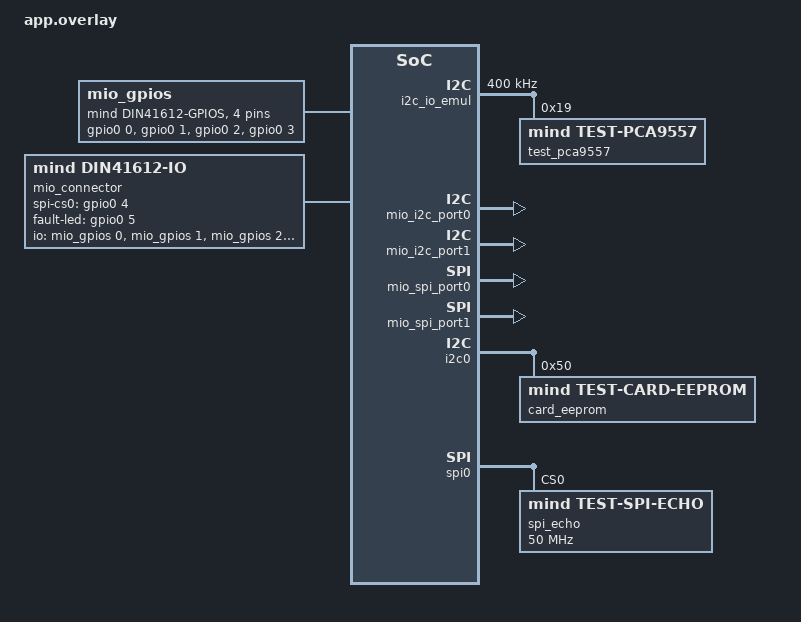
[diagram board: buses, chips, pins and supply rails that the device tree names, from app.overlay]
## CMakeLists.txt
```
# SPDX-License-Identifier: Apache-2.0

cmake_minimum_required(VERSION 3.20.0)

set(ZEPHYR_EXTRA_MODULES ${CMAKE_CURRENT_SOURCE_DIR}/../..)
find_package(Zephyr REQUIRED HINTS $ENV{ZEPHYR_BASE})
project(mind_io_test)

set(common ${CMAKE_CURRENT_SOURCE_DIR}/../common)
target_sources(app PRIVATE
  src/main.c
  ${common}/emul_card_eeprom.c
  ${common}/emul_pca9557.c
  ${common}/emul_spi_echo.c
)
target_include_directories(app PRIVATE ${common})

set(gen_dir ${ZEPHYR_BINARY_DIR}/include/generated)
generate_inc_file_for_target(app ${CMAKE_CURRENT_SOURCE_DIR}/../golden/dev_card.bin
			     ${gen_dir}/dev_card.bin.inc)
```

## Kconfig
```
# SPDX-License-Identifier: Apache-2.0

config TEST_CARD_IMAGE_GOLDEN
	bool "Preload the emulated card EEPROM with the golden card image"
	default y
	help
	  If disabled, the emulated card EEPROM reads as erased.

config TEST_CARD_ABSENT
	bool "Test build without any card EEPROM on I2C_CNF"

source "Kconfig.zephyr"
```

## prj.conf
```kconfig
CONFIG_ZTEST=y
CONFIG_EMUL=y
CONFIG_I2C=y
CONFIG_SPI=y
CONFIG_GPIO=y
CONFIG_LOG=y
CONFIG_MIND_IO_LOG_LEVEL_DBG=y

CONFIG_SHELL=y
CONFIG_SHELL_BACKEND_SERIAL=n
CONFIG_SHELL_VT100_COMMANDS=n
CONFIG_SHELL_BACKEND_DUMMY=y
CONFIG_SHELL_BACKEND_DUMMY_BUF_SIZE=2048
```

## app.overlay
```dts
/*
 * A mind,din41612-io connector on native_sim's emulated buses:
 * I2C_CNF = i2c0 (with the emulated card EEPROM), I2C_IO = a second
 * emulated I2C bus (with the on-card PCA9557), SPI = spi0 (with an echo
 * device), GPIOs on gpio0.
 *
 * SPDX-License-Identifier: Apache-2.0
 */

#include <zephyr/dt-bindings/gpio/gpio.h>
#include <zephyr/dt-bindings/i2c/i2c.h>

/ {
	i2c_io_emul: i2c@1100 {
		compatible = "zephyr,i2c-emul-controller";
		reg = <0x1100 4>;
		clock-frequency = <I2C_BITRATE_FAST>;
		#address-cells = <1>;
		#size-cells = <0>;
		status = "okay";

		test_pca9557: pca9557@19 {
			compatible = "mind,test-pca9557";
			reg = <0x19>;
		};
	};

	mio_gpios: connector-gpios {
		compatible = "mind,din41612-gpios";
		#gpio-cells = <2>;
		gpio-map-mask = <0xffffffff 0xffffffc0>;
		gpio-map-pass-thru = <0 0x3f>;
		gpio-map = <0 0 &gpio0 0 0>, <1 0 &gpio0 1 0>, <2 0 &gpio0 2 0>, <3 0 &gpio0 3 0>;
	};

	mio_connector: connector {
		compatible = "mind,din41612-io";
		i2c-cnf = <&i2c0>;
		i2c-io = <&i2c_io_emul>;
		spi = <&spi0>;
		spi-cs0-gpios = <&gpio0 4 GPIO_ACTIVE_HIGH>;
		fault-led-gpios = <&gpio0 5 GPIO_ACTIVE_HIGH>;
		io-gpios = <&mio_gpios 0 0>, <&mio_gpios 1 0>, <&mio_gpios 2 0>, <&mio_gpios 3 0>;

		mio_i2c_port0: i2c-port-0 {
			compatible = "mind,io-i2c-port";
			slot = <0>;
			#address-cells = <1>;
			#size-cells = <0>;
		};

		mio_i2c_port1: i2c-port-1 {
			compatible = "mind,io-i2c-port";
			slot = <1>;
			#address-cells = <1>;
			#size-cells = <0>;
		};

		mio_spi_port0: spi-port-0 {
			compatible = "mind,io-spi-port";
			slot = <0>;
			#address-cells = <1>;
			#size-cells = <0>;
		};

		mio_spi_port1: spi-port-1 {
			compatible = "mind,io-spi-port";
			slot = <1>;
			#address-cells = <1>;
			#size-cells = <0>;
		};
	};
};

&i2c0 {
	card_eeprom: eeprom@50 {
		compatible = "mind,test-card-eeprom";
		reg = <0x50>;
	};
};

&spi0 {
	spi_echo: echo@0 {
		compatible = "mind,test-spi-echo";
		reg = <0>;
		spi-max-frequency = <50000000>;
	};
};
```

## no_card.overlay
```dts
/* SPDX-License-Identifier: Apache-2.0 */

#include "app.overlay"

/delete-node/ &card_eeprom;
```

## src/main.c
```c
/*
 * mind_io integration tests on native_sim: card read at boot, lines on
 * connector GPIOs and on the on-card PCA9557, fault LED, raw card EEPROM
 * access, I2C/SPI port slots and the shell commands.
 *
 * SPDX-License-Identifier: Apache-2.0
 */

#include <errno.h>
#include <string.h>

#include <zephyr/device.h>
#include <zephyr/drivers/gpio.h>
#include <zephyr/drivers/gpio/gpio_emul.h>
#include <zephyr/drivers/i2c.h>
#include <zephyr/drivers/spi.h>
#include <zephyr/shell/shell.h>
#include <zephyr/shell/shell_dummy.h>
#include <zephyr/ztest.h>

#include <mind_io/mind_io.h>
#include "test_emul.h"

static const struct device *const gpio0 = DEVICE_DT_GET(DT_NODELABEL(gpio0));
static const struct device *const i2c_port0 = DEVICE_DT_GET(DT_NODELABEL(mio_i2c_port0));
static const struct device *const spi_port0 = DEVICE_DT_GET(DT_NODELABEL(mio_spi_port0));

/* gpio0 pins as wired in app.overlay */
#define PIN_GPIO0     0
#define PIN_GPIO3     3
#define PIN_SPI_CS0   4
#define PIN_FAULT_LED 5

static const struct shell *sh;

static const char *run(const char *cmd, int expected_ret)
{
	size_t size;
	int ret;

	shell_backend_dummy_clear_output(sh);
	ret = shell_execute_cmd(sh, cmd);
	zassert_equal(ret, expected_ret, "'%s' returned %d", cmd, ret);

	return shell_backend_dummy_get_output(sh, &size);
}

static void *shell_setup(void)
{
	sh = shell_backend_dummy_get_ptr();
	WAIT_FOR(shell_ready(sh), 20000, k_msleep(1));
	zassert_true(shell_ready(sh), "dummy shell backend not ready");
	return NULL;
}

#ifdef CONFIG_TEST_CARD_IMAGE_GOLDEN

static const struct device *const i2c_port1 = DEVICE_DT_GET(DT_NODELABEL(mio_i2c_port1));
static const struct device *const spi_port1 = DEVICE_DT_GET(DT_NODELABEL(mio_spi_port1));

/* ---- card read at boot ---- */

ZTEST(mio_card, test_status_ok)
{
	const char *reason = "unset";
	const struct mio_card *card;

	zassert_equal(mio_card_status(&reason), MIO_CARD_OK);
	zassert_is_null(reason);

	card = mio_card_get();
	zassert_not_null(card);
	zassert_str_equal(card->identity.name, "MINDOS-IO-DEV");
	zassert_true(mio_has_resource(MIO_RES_SPI));
	zassert_true(mio_has_resource(MIO_RES_GPIO3));
	zassert_false(mio_has_resource(MIO_RES_GPIO0));
	zassert_false(mio_has_resource(MIO_RES_RS485));
	zassert_not_null(mio_card_i2c_port(0));
	zassert_is_null(mio_card_i2c_port(1));
}

ZTEST(mio_card, test_undeclared_gpio_untouched)
{
	gpio_flags_t flags = 0xFFFFFFFFU;

	zassert_ok(gpio_emul_flags_get(gpio0, PIN_GPIO0, &flags));
	zassert_equal(flags & (GPIO_INPUT | GPIO_OUTPUT), 0, "GPIO0 must stay unconfigured");
}

ZTEST(mio_card, test_fault_led)
{
	zassert_equal(gpio_emul_output_get(gpio0, PIN_FAULT_LED), 0, "off with a valid card");
	zassert_ok(mio_fault_led_set(true));
	zassert_equal(gpio_emul_output_get(gpio0, PIN_FAULT_LED), 1);
	zassert_ok(mio_fault_led_set(false));
	zassert_equal(gpio_emul_output_get(gpio0, PIN_FAULT_LED), 0);
}

/* ---- lines ---- */

ZTEST(mio_card, test_gpio_input_line)
{
	struct mio_line irq;
	gpio_flags_t flags;

	zassert_ok(mio_line_get("CAN1_INT", &irq));

	zassert_ok(gpio_emul_flags_get(gpio0, PIN_GPIO3, &flags));
	zassert_true((flags & GPIO_INPUT) != 0U);
	zassert_true((flags & GPIO_PULL_UP) != 0U);

	/* active-low: a low level reads as active */
	zassert_ok(gpio_emul_input_set(gpio0, PIN_GPIO3, 0));
	zassert_equal(mio_line_read(&irq), 1);
	zassert_ok(gpio_emul_input_set(gpio0, PIN_GPIO3, 1));
	zassert_equal(mio_line_read(&irq), 0);

	zassert_equal(mio_line_set(&irq, 1), -ENOTSUP, "inputs can't be set");
}

ZTEST(mio_card, test_expander_lines)
{
	struct mio_line relay;
	struct mio_line led;
	struct test_pca9557_regs regs = test_pca9557_regs();

	/* Polarity cleared, IO1/IO2 outputs; RELAY1 inactive (low), LED1 active
	 * and active-low (low).
	 */
	zassert_equal(regs.pol, 0x00);
	zassert_equal(regs.cfg, 0xF9);
	zassert_equal(regs.out & 0x06, 0x00);

	zassert_ok(mio_line_get("RELAY1", &relay));
	zassert_ok(mio_line_get("LED1", &led));

	zassert_ok(mio_line_set(&relay, 1));
	zassert_ok(mio_line_set(&led, 0));
	regs = test_pca9557_regs();
	zassert_equal(regs.out & 0x06, 0x06);
	zassert_equal(mio_line_read(&relay), 1);
	zassert_equal(mio_line_read(&led), 0);

	zassert_ok(mio_line_set(&relay, 0));
	zassert_equal(test_pca9557_regs().out & 0x02, 0x00);
}

ZTEST(mio_card, test_unknown_line)
{
	struct mio_line line;

	zassert_equal(mio_line_get("NOPE", &line), -ENOENT);
}

/* ---- raw card EEPROM access ---- */

ZTEST(mio_card, test_eeprom_raw_access)
{
	uint8_t data[20];
	uint8_t readback[20];

	zassert_ok(mio_card_eeprom_read(0, readback, 4));
	zassert_mem_equal(readback, MIO_CARD_MAGIC, 4);

	for (size_t i = 0; i < sizeof(data); i++) {
		data[i] = (uint8_t)(0xA0 + i);
	}

	/* crosses a 16-byte chunk boundary */
	zassert_ok(mio_card_eeprom_write(0x100A, data, sizeof(data)));
	zassert_mem_equal(&test_card_eeprom_mem()[0x100A], data, sizeof(data));
	zassert_ok(mio_card_eeprom_read(0x100A, readback, sizeof(readback)));
	zassert_mem_equal(readback, data, sizeof(data));
}

ZTEST_SUITE(mio_card, NULL, NULL, NULL, NULL, NULL);

/* ---- port slots ---- */

ZTEST(mio_ports, test_slot_readiness)
{
	zassert_true(device_is_ready(i2c_port0));
	zassert_false(device_is_ready(i2c_port1), "the card has no I2C slot 1");
	zassert_true(device_is_ready(spi_port0));
	zassert_false(device_is_ready(spi_port1), "the card has no SPI slot 1");
}

ZTEST(mio_ports, test_port_by_label)
{
	zassert_equal(mio_port_by_label("SENSOR1"), i2c_port0);
	zassert_equal(mio_port_by_label("CAN1"), spi_port0);
	zassert_is_null(mio_port_by_label("CAN1_INT"), "lines are not ports");
	zassert_is_null(mio_port_by_label("NOPE"));
}

ZTEST(mio_ports, test_i2c_forwarding)
{
	uint8_t val;

	/* The PCA9557 sits on the host I2C_IO bus; the port reaches it */
	zassert_ok(i2c_reg_read_byte(i2c_port0, 0x19, 0x03, &val));
	zassert_equal(val, test_pca9557_regs().cfg);
	zassert_ok(i2c_reg_read_byte(i2c_port0, 0x19, 0x02, &val));
	zassert_equal(val, 0x00);
}

static int spi_xfer(uint32_t freq, uint16_t extra_op, uint8_t *tx, uint8_t *rx, size_t len)
{
	struct spi_config cfg = {
		.frequency = freq,
		.operation = SPI_WORD_SET(8) | SPI_OP_MODE_CONTROLLER | extra_op,
	};
	struct spi_buf tx_buf = {.buf = tx, .len = len};
	struct spi_buf rx_buf = {.buf = rx, .len = len};
	struct spi_buf_set tx_set = {.buffers = &tx_buf, .count = 1};
	struct spi_buf_set rx_set = {.buffers = &rx_buf, .count = 1};

	return spi_transceive(spi_port0, &cfg, &tx_set, &rx_set);
}

ZTEST(mio_ports, test_spi_chip_select_and_forwarding)
{
	uint8_t tx[3] = {0xA5, 0x5A, 0x01};
	uint8_t rx[3] = {0};
	struct test_spi_echo_stats stats;

	/* active-low CS0 idles high */
	zassert_equal(gpio_emul_output_get(gpio0, PIN_SPI_CS0), 1);

	zassert_ok(spi_xfer(1000000, 0, tx, rx, sizeof(tx)));
	zassert_mem_equal(rx, tx, sizeof(tx));

	stats = test_spi_echo_stats();
	zassert_equal(stats.cs_level, 0, "CS0 asserted (low) during the transfer");
	zassert_equal(stats.last_freq, 1000000U);
	zassert_equal(gpio_emul_output_get(gpio0, PIN_SPI_CS0), 1, "CS0 released after");
}

ZTEST(mio_ports, test_spi_max_frequency)
{
	uint8_t tx[1] = {0};
	uint8_t rx[1];

	zassert_ok(spi_xfer(20000000, 0, tx, rx, sizeof(tx)));
	zassert_equal(test_spi_echo_stats().last_freq, 10000000U, "clamped to the card's limit");
}

ZTEST(mio_ports, test_spi_hold_on_cs)
{
	uint8_t tx[1] = {0};
	uint8_t rx[1];
	struct spi_config cfg = {.operation = SPI_WORD_SET(8) | SPI_OP_MODE_CONTROLLER};

	zassert_ok(spi_xfer(1000000, SPI_HOLD_ON_CS, tx, rx, sizeof(tx)));
	zassert_equal(gpio_emul_output_get(gpio0, PIN_SPI_CS0), 0, "CS0 held");
	zassert_ok(spi_release(spi_port0, &cfg));
	zassert_equal(gpio_emul_output_get(gpio0, PIN_SPI_CS0), 1, "CS0 released");
}

ZTEST_SUITE(mio_ports, NULL, NULL, NULL, NULL, NULL);

/* ---- shell ---- */

ZTEST(mio_shell, test_info)
{
	const char *out = run("mio info", 0);

	zassert_not_null(strstr(out, "MINDOS-IO-DEV"), "%s", out);
	zassert_not_null(strstr(out, " I2C_IO"), "%s", out);
	zassert_not_null(strstr(out, "address 0x19 on SENSOR1"), "%s", out);
}

ZTEST(mio_shell, test_ports_and_lines)
{
	const char *out = run("mio ports", 0);

	zassert_not_null(strstr(out, "SENSOR1"), "%s", out);
	zassert_not_null(strstr(out, "CAN1"), "%s", out);
	zassert_is_null(strstr(out, "NOT READY"), "%s", out);

	out = run("mio lines", 0);
	zassert_not_null(strstr(out, "RELAY1"), "%s", out);
	zassert_not_null(strstr(out, "EXP0.1"), "%s", out);
}

ZTEST(mio_shell, test_line_command)
{
	zassert_not_null(strstr(run("mio line RELAY1 1", 0), "RELAY1: active"));
	zassert_equal(test_pca9557_regs().out & 0x02, 0x02);
	zassert_not_null(strstr(run("mio line RELAY1 0", 0), "RELAY1: inactive"));
	run("mio line CAN1_INT 1", -ENOTSUP);
	run("mio line NOPE", -ENOENT);
}

ZTEST(mio_shell, test_eeprom_commands)
{
	zassert_not_null(strstr(run("mio eeprom read 0 4", 0), "DATA 4d494f43"));
	run("mio eeprom write 0x1800 00112233", 0);
	zassert_mem_equal(&test_card_eeprom_mem()[0x1800], "\x00\x11\x22\x33", 4);
	zassert_not_null(strstr(run("mio eeprom read 0x1800 4", 0), "DATA 00112233"));
	run("mio eeprom write 0x1800 0011223", -EINVAL);
	run("mio eeprom read 0 65", -EINVAL);
}

ZTEST_SUITE(mio_shell, NULL, shell_setup, NULL, NULL, NULL);

#else /* no valid card: blank or absent */

ZTEST(mio_no_card, test_status)
{
	const char *reason = NULL;
	enum mio_card_status expected =
		IS_ENABLED(CONFIG_TEST_CARD_ABSENT) ? MIO_CARD_ABSENT : MIO_CARD_BLANK;

	zassert_equal(mio_card_status(&reason), expected);
	zassert_not_null(reason);
	zassert_is_null(mio_card_get());
	zassert_false(mio_has_resource(MIO_RES_I2C_CNF));
}

ZTEST(mio_no_card, test_everything_unavailable)
{
	struct mio_line line;

	zassert_equal(mio_line_get("RELAY1", &line), -ENODEV);
	zassert_is_null(mio_port_by_label("SENSOR1"));
	zassert_false(device_is_ready(i2c_port0));
	zassert_false(device_is_ready(spi_port0));
}

ZTEST(mio_no_card, test_fault_led)
{
	/* A blank card lights its fault LED; an absent card has no LED to light */
	zassert_equal(gpio_emul_output_get(gpio0, PIN_FAULT_LED),
		      IS_ENABLED(CONFIG_TEST_CARD_ABSENT) ? 0 : 1);
}

ZTEST(mio_no_card, test_info_reports_status)
{
	const char *out = run("mio info",
			      IS_ENABLED(CONFIG_TEST_CARD_ABSENT) ? -ENODEV : -EINVAL);

	zassert_not_null(strstr(out, IS_ENABLED(CONFIG_TEST_CARD_ABSENT) ? "absent" : "blank"),
			 "%s", out);
}

ZTEST_SUITE(mio_no_card, NULL, shell_setup, NULL, NULL, NULL);

#endif /* CONFIG_TEST_CARD_IMAGE_GOLDEN */
```
